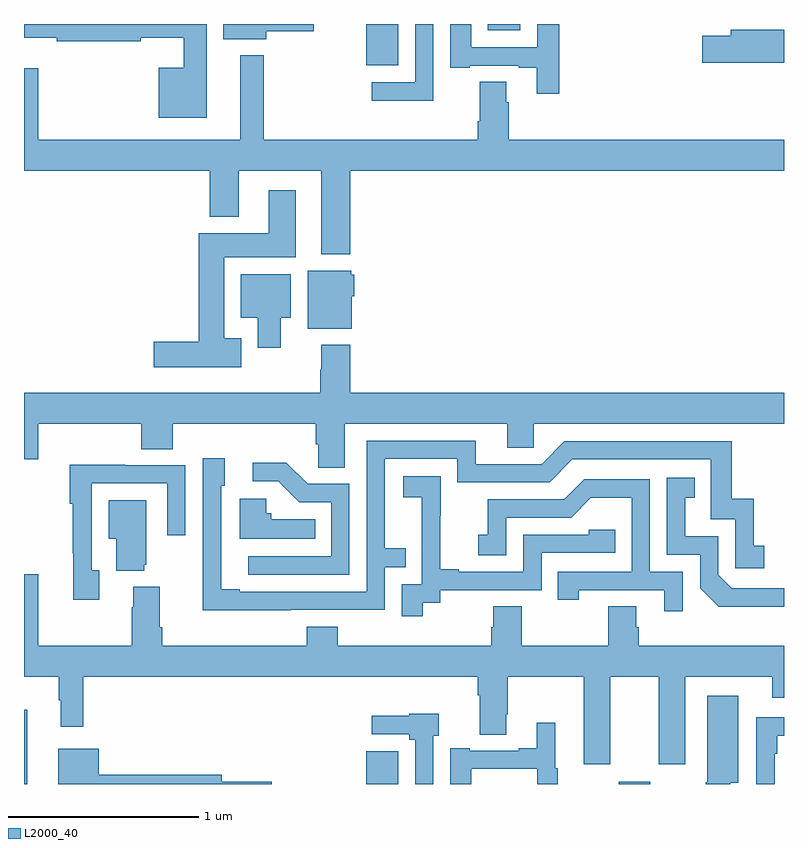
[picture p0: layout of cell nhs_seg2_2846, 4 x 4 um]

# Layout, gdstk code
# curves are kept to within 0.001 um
import gdstk
lib = gdstk.Library(unit=1e-6, precision=1e-09)
def R(c, l, rs):  # rectangles x0, y0, x1, y1
    for r in rs: c.add(gdstk.rectangle(r[:2], r[2:], *l))
def P(c, l, *ps):  # polygons
    for p in ps: c.add(gdstk.Polygon(p, *l))
L2000_40 = (2000, 40)

nhs_seg2_2846 = lib.new_cell('nhs_seg2_2846')
R(nhs_seg2_2846, L2000_40, [(261,585.8,261.016,586.192), (262.802,585.8,262.969,585.973), (264.131,585.8,264.295,585.811), (262.802,589.583,262.969,589.8), (263.441,589.766,263.611,589.8)])
P(nhs_seg2_2846, L2000_40, [(263.816,589.8),(263.7,589.8),(263.7,589.677),(263.353,589.677),(263.353,589.8),(263.243,589.8),(263.243,589.569),(263.347,589.569),(263.347,589.581),(263.603,589.581),(263.603,589.569),(263.699,589.569),(263.699,589.434),(263.816,589.434)],
  [(262.276,589.763),(262.525,589.763),(262.525,589.8),(262.049,589.8),(262.049,589.721),(262.276,589.721)],
  [(263.154,589.8),(263.058,589.8),(263.058,589.494),(262.83,589.494),(262.83,589.397),(263.154,589.397)],
  [(261.961,589.8),(261,589.8),(261,589.727),(261.172,589.727),(261.172,589.708),(261.614,589.708),(261.614,589.727),(261.84,589.727),(261.84,589.57),(261.71,589.57),(261.71,589.307),(261.961,589.307)],
  [(265,589.769),(264.719,589.769),(264.719,589.739),(264.57,589.739),(264.57,589.597),(265,589.597)],
  [(262.718,589.028),(265,589.028),(265,589.192),(263.552,589.192),(263.552,589.388),(263.539,589.388),(263.539,589.496),(263.399,589.496),(263.399,589.288),(263.387,589.288),(263.387,589.192),(262.261,589.192),(262.261,589.636),(262.139,589.636),(262.139,589.192),(261.076,589.192),(261.076,589.567),(261,589.567),(261,589.028),(261.977,589.028),(261.977,588.785),(262.129,588.785),(262.129,589.028),(262.565,589.028),(262.565,588.587),(262.718,588.587)],
  [(262.144,588.145),(262.054,588.145),(262.054,588.572),(262.429,588.572),(262.429,588.925),(262.289,588.925),(262.289,588.7),(261.92,588.7),(261.92,588.128),(261.684,588.128),(261.684,587.993),(262.144,587.993)],
  [(262.726,588.366),(262.738,588.366),(262.738,588.48),(262.722,588.48),(262.722,588.502),(262.493,588.502),(262.493,588.197),(262.726,588.197)],
  [(262.351,588.254),(262.405,588.254),(262.405,588.484),(262.142,588.484),(262.142,588.254),(262.229,588.254),(262.229,588.096),(262.351,588.096)],
  [(262.687,587.696),(263.543,587.696),(263.543,587.569),(263.682,587.569),(263.682,587.696),(265,587.696),(265,587.86),(262.718,587.86),(262.718,588.112),(262.565,588.112),(262.565,587.981),(262.558,587.981),(262.558,587.86),(261,587.86),(261,587.508),(261.076,587.508),(261.076,587.696),(261.617,587.696),(261.617,587.563),(261.782,587.563),(261.782,587.696),(262.535,587.696),(262.535,587.587),(262.548,587.587),(262.548,587.464),(262.687,587.464)],
  [(262.403,586.716),(262.899,586.716),(262.899,586.941),(263.009,586.941),(263.009,587.042),(262.899,587.042),(262.899,587.511),(263.28,587.511),(263.28,587.388),(263.766,587.388),(263.886,587.508),(264.615,587.508),(264.615,587.193),(264.744,587.193),(264.744,586.935),(264.895,586.935),(264.895,587.055),(264.842,587.055),(264.842,587.302),(264.724,587.302),(264.724,587.604),(263.844,587.604),(263.724,587.484),(263.377,587.484),(263.377,587.607),(262.803,587.607),(262.803,586.812),(262.135,586.812),(262.135,586.825),(262.038,586.825),(262.038,587.37),(262.057,587.37),(262.057,587.515),(261.942,587.515),(261.942,587.021),(261.94,587.021),(261.94,586.715)],
  [(262.713,587.379),(262.494,587.379),(262.381,587.492),(262.203,587.492),(262.203,587.394),(262.337,587.394),(262.448,587.283),(262.617,587.283),(262.617,586.998),(262.179,586.998),(262.179,586.902),(262.713,586.902)],
  [(261.397,586.926),(261.357,586.926),(261.357,587.382),(261.753,587.382),(261.753,587.109),(261.849,587.109),(261.849,587.478),(261.533,587.478),(261.533,587.48),(261.241,587.48),(261.241,587.275),(261.256,587.275),(261.256,587.014),(261.26,587.014),(261.26,586.77),(261.397,586.77)],
  [(263.098,586.753),(263.19,586.753),(263.19,586.821),(263.724,586.821),(263.724,587.016),(264.113,587.016),(264.113,587.139),(263.973,587.139),(263.973,587.112),(263.628,587.112),(263.628,586.917),(263.287,586.917),(263.287,586.93),(263.192,586.93),(263.192,587.213),(263.193,587.213),(263.193,587.419),(262.995,587.419),(262.995,587.309),(263.093,587.309),(263.093,587.081),(263.094,587.081),(263.094,586.851),(262.989,586.851),(262.989,586.683),(263.098,586.683)],
  [(265,586.83),(264.726,586.83),(264.654,586.902),(264.654,587.103),(264.481,587.103),(264.481,587.307),(264.53,587.307),(264.53,587.413),(264.384,587.413),(264.384,587.007),(264.558,587.007),(264.558,586.83),(264.656,586.733),(265,586.733)],
  [(264.468,586.917),(264.294,586.917),(264.294,587.403),(263.948,587.403),(263.843,587.298),(263.44,587.298),(263.44,587.113),(263.391,587.113),(263.391,587.004),(263.538,587.004),(263.538,587.202),(263.88,587.202),(263.984,587.306),(264.198,587.306),(264.198,586.917),(263.809,586.917),(263.809,586.77),(263.92,586.77),(263.92,586.821),(264.371,586.821),(264.371,586.71),(264.468,586.71)],
  [(262.532,587.194),(262.302,587.194),(262.302,587.226),(262.275,587.226),(262.275,587.302),(262.136,587.302),(262.136,587.09),(262.532,587.09)],
  [(261.632,586.953),(261.643,586.953),(261.643,587.293),(261.446,587.293),(261.446,587.09),(261.485,587.09),(261.485,586.922),(261.632,586.922)],
  [(264.085,586.364),(264.341,586.364),(264.341,585.903),(264.481,585.903),(264.481,586.364),(264.938,586.364),(264.938,586.254),(265,586.254),(265,586.528),(264.236,586.528),(264.236,586.626),(264.223,586.626),(264.223,586.736),(264.076,586.736),(264.076,586.528),(263.619,586.528),(263.619,586.736),(263.471,586.736),(263.471,586.626),(263.459,586.626),(263.459,586.528),(262.652,586.528),(262.652,586.627),(262.487,586.627),(262.487,586.528),(261.728,586.528),(261.728,586.624),(261.715,586.624),(261.715,586.837),(261.575,586.837),(261.575,586.73),(261.568,586.73),(261.568,586.528),(261.076,586.528),(261.076,586.903),(261,586.903),(261,586.364),(261.183,586.364),(261.183,586.241),(261.194,586.241),(261.194,586.101),(261.311,586.101),(261.311,586.364),(263.387,586.364),(263.387,586.268),(263.399,586.268),(263.399,586.06),(263.539,586.06),(263.539,586.168),(263.547,586.168),(263.547,586.364),(263.945,586.364),(263.945,585.903),(264.085,585.903)],
  [(264.718,585.806),(264.76,585.806),(264.76,586.264),(264.596,586.264),(264.596,585.81),(264.589,585.81),(264.589,585.8),(264.718,585.8)],
  [(263.154,586.053),(263.182,586.053),(263.182,586.171),(263.028,586.171),(263.028,586.16),(262.83,586.16),(262.83,586.062),(263.028,586.062),(263.028,586.034),(263.058,586.034),(263.058,585.8),(263.154,585.8)],
  [(264.951,585.959),(264.964,585.959),(264.964,586.055),(265,586.055),(265,586.152),(264.855,586.152),(264.855,585.8),(264.951,585.8)],
  [(263.353,585.879),(263.7,585.879),(263.7,585.8),(263.809,585.8),(263.809,585.882),(263.797,585.882),(263.797,586.123),(263.699,586.123),(263.699,585.988),(263.603,585.988),(263.603,585.975),(263.347,585.975),(263.347,585.988),(263.243,585.988),(263.243,585.8),(263.353,585.8)],
  [(262.303,585.812),(262.042,585.812),(262.042,585.848),(261.394,585.848),(261.394,585.985),(261.179,585.985),(261.179,585.8),(262.303,585.8)])

lib.write_gds('nhs_seg2_2846.gds')
